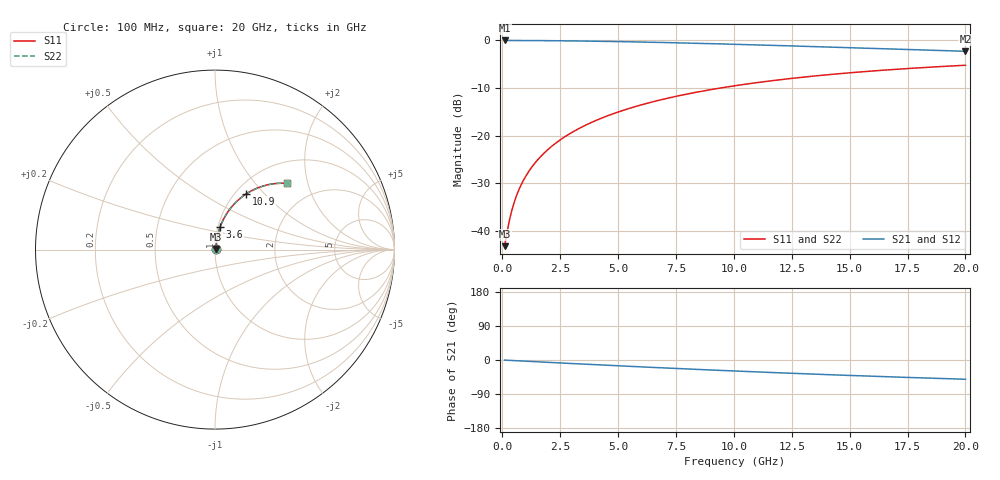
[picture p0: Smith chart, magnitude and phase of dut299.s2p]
! Touchstone file exported from HFSS 2024.1.0
!  File:  C:/UserFiles/LocalFiles/RDL_TSV_Batchsim/temp_RDL_bottom_299_1778703748.aedt
!  Generated:  04:24:51 AM May 14, 2026
!  Design:  RDL_bottom
!  Project:  temp_RDL_bottom_299_1778703748
!  Setup:  Setup1
!  Solution:  Sweep
! Variables:
!  dtsv = 10.80580581um
!  hbump = 3um
!  htsv = 70.89um
!  ldown = 682.56um
!  lrdl = 100um
!  p = 40
!  p1 = 48.9um
!  rhole = 1um
!  t = 450um
!  tdown = 3.7um
!  trdl = 3.915915916um
!  wdown = 11.22um
!  wrdl = 20um
# GHz S MA R 50.000000
! Terminal data exported
! Port[1] = RDL1_T1
! Port[2] = RDL1_T2
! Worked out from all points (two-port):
!   200 points, 100 MHz to 20 GHz, reference 50 ohm
!   highest |S21| = -0.05 dB at 100 MHz (marker M1); lowest = -2.3 dB at 20 GHz (marker M2)
!   |S21| within 3 dB of the highest: start of sweep to end of sweep
!   lowest |S11| = -43.2 dB at 100 MHz (marker M3), VSWR 1.01, Z = 50.6 + j0.376 ohm
!   |S11| at or under -10 dB: start of sweep to 9.45 GHz
!   |S22| runs from -43.2 to -5.3 dB; largest |S21 - S12| = 5.5e-15
!   S11 on the Smith chart (normalised r, x): 100 MHz: 1.01, +0.01; 3.6 GHz: 1.02, +0.26; 10.9 GHz: 1.12, +0.80; 20 GHz: 1.43, +1.50
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0.1  0.00692 32.5  0.9942 -0.3  0.9942 -0.3  0.00692 32.5
! Gamma 0 0 0 0
! Port Impedance 50 0 50 0
0.2  0.009505 51.2  0.9941 -0.6  0.9941 -0.6  0.009505 51.2
0.3  0.01266 61.1  0.9939 -1.0  0.9939 -1.0  0.01266 61.1
0.4  0.01602 66.7  0.9938 -1.3  0.9938 -1.3  0.01602 66.7
0.5  0.01946 70.2  0.9936 -1.6  0.9936 -1.6  0.01946 70.2
0.6  0.02294 72.6  0.9934 -1.9  0.9934 -1.9  0.02294 72.6
0.8  0.02995 75.6  0.9929 -2.5  0.9929 -2.5  0.02995 75.6
1.1  0.04053 77.8  0.9922 -3.5  0.9922 -3.5  0.04053 77.8
1.5  0.05469 79.0  0.9909 -4.7  0.9909 -4.7  0.05469 79.0
2.1  0.07595 79.3  0.9885 -6.5  0.9885 -6.5  0.07595 79.3
2.7  0.09714 78.7  0.9854 -8.4  0.9854 -8.4  0.09714 78.7
3.5  0.1252 77.4  0.9802 -10.8  0.9802 -10.8  0.1252 77.4
3.6  0.1286 77.2  0.9795 -11.1  0.9795 -11.1  0.1286 77.2
4.3  0.1528 75.8  0.9739 -13.2  0.9739 -13.2  0.1528 75.8
5  0.1766 74.3  0.9675 -15.3  0.9675 -15.3  0.1766 74.3
6.8  0.2357 70.2  0.9483 -20.4  0.9483 -20.4  0.2357 70.2
8.3  0.2823 66.7  0.9297 -24.5  0.9297 -24.5  0.2823 66.6
10.1  0.3347 62.5  0.9054 -29.2  0.9054 -29.2  0.3346 62.5
10.9  0.3566 60.7  0.8941 -31.2  0.8941 -31.2  0.3565 60.7
13.4  0.4194 55.2  0.858 -37.2  0.858 -37.2  0.4193 55.2
16.7  0.4896 48.5  0.8105 -44.4  0.8105 -44.4  0.4895 48.5
20  0.5463 42.4  0.7654 -50.8  0.7654 -50.8  0.5462 42.4
